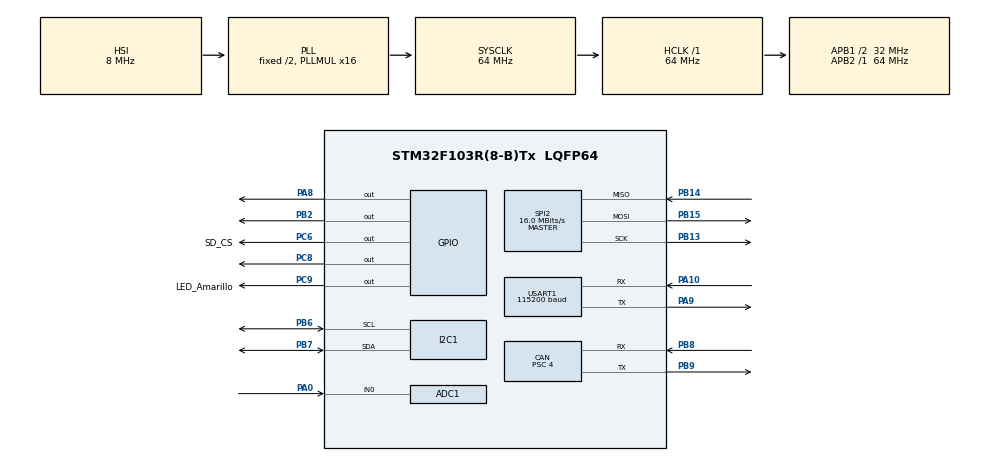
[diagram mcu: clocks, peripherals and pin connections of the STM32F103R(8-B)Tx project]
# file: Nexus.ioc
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ADC1.Channel-0\#ChannelRegularConversion=ADC_CHANNEL_0
ADC1.NbrOfConversionFlag=1
ADC1.Rank-0\#ChannelRegularConversion=1
ADC1.SamplingTime-0\#ChannelRegularConversion=ADC_SAMPLETIME_1CYCLE_5
ADC1.master=1
CAN.BS1=CAN_BS1_6TQ
CAN.CalculateBaudRate=1000000
CAN.CalculateTimeBit=1000
CAN.CalculateTimeQuantum=125.0
CAN.Mode=CAN_MODE_NORMAL
CAN.Prescaler=4
FATFS._MAX_SS=4096
FATFS._USE_LFN=1
Mcu.Family=STM32F1
Mcu.Name=STM32F103R(8-B)Tx
Mcu.Package=LQFP64
NVIC.CAN1_RX1_IRQn=true\:0\:0\:false\:false\:true\:true\:true\:true
NVIC.PriorityGroup=NVIC_PRIORITYGROUP_4
NVIC.USB_LP_CAN1_RX0_IRQn=true\:0\:0\:false\:false\:true\:true\:true\:true
PA0-WKUP.Signal=ADCx_IN0
PA10.Mode=Asynchronous
PA10.Signal=USART1_RX
PA13.Mode=Serial_Wire
PA13.Signal=SYS_JTMS-SWDIO
PA14.Mode=Serial_Wire
PA14.Signal=SYS_JTCK-SWCLK
PA8.Signal=GPIO_Output
PA9.Mode=Asynchronous
PA9.Signal=USART1_TX
PB13.Mode=Full_Duplex_Master
PB13.Signal=SPI2_SCK
PB14.Mode=Full_Duplex_Master
PB14.Signal=SPI2_MISO
PB15.Mode=Full_Duplex_Master
PB15.Signal=SPI2_MOSI
PB2.Signal=GPIO_Output
PB6.Mode=I2C
PB6.Signal=I2C1_SCL
PB7.Mode=I2C
PB7.Signal=I2C1_SDA
PB8.Mode=CAN_Activate
PB8.Signal=CAN_RX
PB9.Mode=CAN_Activate
PB9.Signal=CAN_TX
PC6.GPIO_Label=SD_CS
PC6.Signal=GPIO_Output
PC8.Signal=GPIO_Output
PC9.GPIO_Label=LED_Amarillo 
PC9.Signal=GPIO_Output
ProjectManager.HeapSize=0x200
ProjectManager.StackSize=0x400
ProjectManager.TargetToolchain=STM32CubeIDE
RCC.ADCPresc=RCC_ADCPCLK2_DIV6
RCC.AHBFreq_Value=64000000
RCC.APB1CLKDivider=RCC_HCLK_DIV2
RCC.APB1Freq_Value=32000000
RCC.APB1TimFreq_Value=64000000
RCC.APB2Freq_Value=64000000
RCC.APB2TimFreq_Value=64000000
RCC.HCLKFreq_Value=64000000
RCC.PLLMUL=RCC_PLL_MUL16
RCC.SYSCLKFreq_VALUE=64000000
RCC.SYSCLKSource=RCC_SYSCLKSOURCE_PLLCLK
RCC.USBFreq_Value=64000000
RTC.Date=9
RTC.Month=RTC_MONTH_JULY
RTC.WeekDay=RTC_WEEKDAY_TUESDAY
RTC.Year=24
SH.ADCx_IN0.0=ADC1_IN0,IN0
SPI2.CalculateBaudRate=16.0 MBits/s
SPI2.Direction=SPI_DIRECTION_2LINES
SPI2.Mode=SPI_MODE_MASTER
SPI2.VirtualType=VM_MASTER
USART1.BaudRate=115200
USART1.VirtualMode=VM_ASYNC
VP_ADC1_TempSens_Input.Mode=IN-TempSens
VP_FATFS_VS_Generic.Mode=User_defined
VP_RTC_VS_RTC_Activate.Mode=RTC_Enabled
VP_RTC_VS_RTC_Calendar.Mode=RTC_Calendar
board=custom

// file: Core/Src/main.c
/* USER CODE BEGIN Header */
/**
  ******************************************************************************
  * @file           : main.c
  * @brief          : Main program body
  ******************************************************************************
  * @attention
  *
  * Copyright (c) 2024 STMicroelectronics.
  * All rights reserved.
  *
  * This software is licensed under terms that can be found in the LICENSE file
  * in the root directory of this software component.
  * If no LICENSE file comes with this software, it is provided AS-IS.
  *
  ******************************************************************************
  */
/* USER CODE END Header */
#include "main.h"
#include "fatfs.h"

/* USER CODE BEGIN Includes */

#include "stdio.h"
#include "math.h"
#include "stdlib.h"
#include "stdint.h"
#include "time.h"
#include "string.h"
#include "stdbool.h"

#include "MPU_6050.h"
#include "nextion_comunication.h"
/* USER CODE END Includes */

/* USER CODE BEGIN PTD */
char Time[30];
char Date[30];
/* USER CODE END PTD */

/* USER CODE BEGIN PD */
RTC_TimeTypeDef sTime;
RTC_DateTypeDef sDate;
FATFS fs;
FIL fil;
/* USER CODE END PD */

ADC_HandleTypeDef hadc1;

CAN_HandleTypeDef hcan;

I2C_HandleTypeDef hi2c1;

RTC_HandleTypeDef hrtc;

SPI_HandleTypeDef hspi2;

UART_HandleTypeDef huart1;

void SystemClock_Config(void);
static void MX_GPIO_Init(void);
static void MX_CAN_Init(void);
static void MX_USART1_UART_Init(void);
static void MX_RTC_Init(void);
static void MX_SPI2_Init(void);
static void MX_I2C1_Init(void);
static void MX_ADC1_Init(void);

/* USER CODE BEGIN 0 */
CAN_TxHeaderTypeDef TxHeader;
CAN_RxHeaderTypeDef RxHeader;

uint32_t TxMailbox; 	//Un MAILBOX es una paquete con espacio para 4 Bytes donde se preparan los datos a enviar
						//Supports 3 different Mailboxes (Search it in the datasheet form MCU)
uint8_t TxData[8];
uint8_t RxData[8];

int Engine_Speed = 0;
uint8_t Throttle_Pos = 0;
uint8_t Coolant_Temp = 0;
uint8_t Battery_Voltage = 0;
float Battery_Voltage_Float = 0;
uint8_t Throttle_Pedal = 0;
int16_t Brake_Pressure = 0;
int16_t RPM = 0;
uint8_t Ignition = 0;
uint8_t SDC = 0;
uint8_t Sw_Starter = 0;
uint8_t Left_Fan = 0;
uint8_t Right_Fan = 0;
uint16_t Gear = 0;
uint8_t Brake_Percentage = 0;

uint8_t CAN_Status = 0;

//float Acc_X = 0;
//float Acc_Y = 0;
//float Acc_Z = 0;

uint8_t MPU_6050_Temp = 0;

// Textos para mostrar datos (se necesitan las siguintes varibles en formato texto para poder mostrarslas en la interfaz)
char RPM_text[20];  // Texto con valor de RPM
char Speed_Text[20];  // Texto con valor velocidad
char Coolant_Text[20];  // Texto con valor de temperatura del refrigerante
char Battery_Text[20];  // Texto con valor de voltaje de la batería
char Ambient_Temperature_Text[20];
char Gear_Text[5] = "N";

const char *array_elementos[] = {"speed", "revValue", "gear", "brake1", "brake2", "brake3", "brake4"};

void HAL_CAN_RxFifo0MsgPendingCallback(CAN_HandleTypeDef *hcan)
{

	HAL_CAN_GetRxMessage(hcan, CAN_RX_FIFO0, &RxHeader, RxData);
	HAL_GPIO_WritePin(GPIOC, GPIO_PIN_8, GPIO_PIN_RESET);
	HAL_GPIO_TogglePin(GPIOA, GPIO_PIN_8);
	switch (RxHeader.StdId){

//	case 0x118:
////			Engine_Speed = (uint8_t)RxData[0];
//
////			Throttle_Pos = (uint8_t)RxData[1];
//
////			Coolant_Temp = (uint8_t)RxData[3];
//			break;

		case 0x120:
			CAN_Status = 1;

			//Revisar esta parte de las variables de Engine Speed
			Engine_Speed = (uint8_t)RxData[0];
			Engine_Speed = (int)Engine_Speed *100;
			Throttle_Pos = (uint8_t)RxData[1];
			Coolant_Temp = (uint8_t)RxData[2];
			Battery_Voltage = (uint8_t)RxData[3];
			Battery_Voltage_Float = (float)Battery_Voltage/10;
			Brake_Pressure = (int16_t)RxData[4]<<8 | RxData[5];
			Brake_Percentage = 0.0138*Brake_Pressure;
			NEXTION_SendNumber(&huart1, "brakePedal", Brake_Percentage);

			MPU_6050_Temp = MPU_6050_Get_Temp();
			HAL_ADC_Start(&hadc1);
			HAL_ADC_PollForConversion(&hadc1, HAL_MAX_DELAY);
			Gear = HAL_ADC_GetValue(&hadc1);

			//Condicionales para conocer el valor de la Marcha
			if ((Gear>=40)&&(Gear<500)){
				strcpy(Gear_Text,"N");
				NEXTION_SendText(&huart1, "gear", Gear_Text, NULL);
			}
			else if((Gear>=600)&&(Gear<950)){
				strcpy(Gear_Text,"1");
				NEXTION_SendText(&huart1, "gear", Gear_Text, NULL);
			}
			else if((Gear>=1000)&&(Gear<1350)){
				strcpy(Gear_Text,"2");
				NEXTION_SendText(&huart1, "gear", Gear_Text, NULL);
			}
			else if((Gear>=1500)&&(Gear<1800)){
				strcpy(Gear_Text,"3");
				NEXTION_SendText(&huart1, "gear", Gear_Text, NULL);
			}
			else if((Gear>=1900)&&(Gear<2100)){
				strcpy(Gear_Text,"4");
				NEXTION_SendText(&huart1, "gear", Gear_Text, NULL);
			}
			else if((Gear>=2150)&&(Gear<2400)){
				strcpy(Gear_Text,"5");
				NEXTION_SendText(&huart1, "gear", Gear_Text, NULL);
			}
			else if(Gear>=2400){
				strcpy(Gear_Text,"6");
				NEXTION_SendText(&huart1, "gear", Gear_Text, NULL);
			}

			//Funcion para enviar las revoluciones del motor
			sprintf(RPM_text, "%d", Engine_Speed);
			NEXTION_SendText(&huart1, "revValue", RPM_text, NULL);
			NEXTION_Send_Revs_v2(&huart1, Engine_Speed);

			//Funcion para enviar la posicion de la mariposa
			NEXTION_SendNumber(&huart1, "acePedal", Throttle_Pos);

			//Funcion para enviar la temperatura del refrigerante
			sprintf(Coolant_Text, "%d", Coolant_Temp);
			NEXTION_SendText(&huart1,"engineTemp",Coolant_Text,"\xB0");

			sprintf(Ambient_Temperature_Text, "%d", MPU_6050_Temp);
			NEXTION_SendText(&huart1,"ambtemperature",Ambient_Temperature_Text,"\xB0");

			//Condicional para el estado del CAN
			if (CAN_Status == 1){
				NEXTION_estado_color(&huart1, "can", 1024);
			}
			else{
				NEXTION_estado_color(&huart1, "can", 63488);
			}

			//Creamos el condicional para los colores de la temperatura de refrigerante

			if (Coolant_Temp<95){
				NEXTION_estado_color(&huart1, "engineTemp", 36609);
			}
			else if((Coolant_Temp>=95)&&(Coolant_Temp<=99)){
				NEXTION_estado_color(&huart1, "engineTemp", 64520);
			}
			else{
				NEXTION_estado_color(&huart1, "engineTemp", 63488);
			}

			sprintf(Battery_Text, "%.1f",Battery_Voltage_Float);
			NEXTION_SendText(&huart1,"voltage",Battery_Text,"V");

			//Creamos el condicional para los colores de la bateria
			if (Battery_Voltage>=12.5){
				NEXTION_estado_color(&huart1, "voltage", 36609);
			}
			else if((Battery_Voltage<12.5)&&(Battery_Voltage>=12)){
				NEXTION_estado_color(&huart1, "voltage", 64520);
			}
			else{
				NEXTION_estado_color(&huart1, "voltage", 63488);
			}

			NEXTION_SendNumber(&huart1, "brakePedal", Brake_Pressure);
			break;

		//case 0x64D:

			//break;

		case 0x521:
			Ignition = (uint8_t)RxData[0];
			SDC = (uint8_t)RxData[1];
			Sw_Starter = (uint8_t)RxData[2];
			Left_Fan = (uint8_t)RxData[3];
			Right_Fan = (uint8_t)RxData[4];

			//Condicional para el estado del Ignition
						if (Ignition == 1){
							NEXTION_estado_color(&huart1, "ignition", 1024);
						}
						else {
							NEXTION_estado_color(&huart1, "ignition", 63488);
						}

						//Condicional para el estado SDC
						if (SDC == 0){
							NEXTION_estado_color(&huart1, "sdc", 1024);
						}
						else{
							NEXTION_estado_color(&huart1, "sdc", 63488 );
						}

						//Condicional para el estado del Starter
						if (Sw_Starter == 1){
							NEXTION_estado_color(&huart1, "str", 1024);
						}
						else {
							NEXTION_estado_color(&huart1, "str", 63488);
						}
						//Condicional para el estado del Left Fan
						if (Left_Fan == 1){
							NEXTION_estado_color(&huart1, "fanLeft", 1024);
						}
						else {
							NEXTION_estado_color(&huart1, "fanLeft", 63488);
						}
						//Condicional para el estado del Right Fan
						if (Right_Fan == 1){
							NEXTION_estado_color(&huart1, "fanRight", 1024);
						}
						else {
							NEXTION_estado_color(&huart1, "fanRight", 63488);
						}

			break;
//		case 0x655:
//			//Brake_Pressure = (int16_t)RxData[0]<<8 | RxData[1];
//
//
//			break;

	}

//	if (RxHeader.StdId == 0x118){
//	Message_Ready118 = 1;
//	}
}
/* USER CODE END 0 */

int main(void)
{

  /* MCU Configuration--------------------------------------------------------*/

  /* Reset of all peripherals, Initializes the Flash interface and the Systick. */
  HAL_Init();

  /* Configure the system clock */
  SystemClock_Config();

  /* Initialize all configured peripherals */
  MX_GPIO_Init();
  MX_CAN_Init();
  MX_USART1_UART_Init();
  MX_RTC_Init();
  MX_SPI2_Init();
  MX_FATFS_Init();
  MX_I2C1_Init();
  MX_ADC1_Init();
  /* USER CODE BEGIN 2 */

  //NEXTION_SendPageChange(&huart1,"page2");
  //HAL_Delay(2800);

             //Mostrar dashware page
 // NEXTION_SendPageChange(&huart1,"page1");

             //Inicializar interfaz a negro (por si se quedó la página con estilos a rojo por alguna alerta provocada por NEXTION_Alert())
  //NEXTION_Alert(&huart1, 0);

  HAL_CAN_Start(&hcan);

  HAL_CAN_ActivateNotification(&hcan, CAN_IT_RX_FIFO0_MSG_PENDING);

  MPU_6050_init();

  HAL_GPIO_WritePin(GPIOC, GPIO_PIN_8, GPIO_PIN_SET);
  /* USER CODE END 2 */

  /* Infinite loop */
  while (1)
  {

    /* USER CODE BEGIN 3 */

	//HAL_RTC_GetDate(&hrtc, &sDate, RTC_FORMAT_BIN);
	//HAL_RTC_GetTime(&hrtc, &sTime, RTC_FORMAT_BIN);

	//sprintf(Date,"Date: %02d.%02d.%02d\t",sDate.Date,sDate.Month,sDate.Year);
	//sprintf(Time,"Time: %02d.%02d.%02d\t",sTime.Hours,sTime.Minutes,sTime.Seconds);

  }
  /* USER CODE END 3 */
}

void SystemClock_Config(void)
{
  RCC_OscInitTypeDef RCC_OscInitStruct = {0};
  RCC_ClkInitTypeDef RCC_ClkInitStruct = {0};
  RCC_PeriphCLKInitTypeDef PeriphClkInit = {0};

  /** Initializes the RCC Oscillators according to the specified parameters
  * in the RCC_OscInitTypeDef structure.
  */
  RCC_OscInitStruct.OscillatorType = RCC_OSCILLATORTYPE_HSI|RCC_OSCILLATORTYPE_LSI;
  RCC_OscInitStruct.HSIState = RCC_HSI_ON;
  RCC_OscInitStruct.HSICalibrationValue = RCC_HSICALIBRATION_DEFAULT;
  RCC_OscInitStruct.LSIState = RCC_LSI_ON;
  RCC_OscInitStruct.PLL.PLLState = RCC_PLL_ON;
  RCC_OscInitStruct.PLL.PLLSource = RCC_PLLSOURCE_HSI_DIV2;
  RCC_OscInitStruct.PLL.PLLMUL = RCC_PLL_MUL16;
  if (HAL_RCC_OscConfig(&RCC_OscInitStruct) != HAL_OK)
  {
    Error_Handler();
  }

  /** Initializes the CPU, AHB and APB buses clocks
  */
  RCC_ClkInitStruct.ClockType = RCC_CLOCKTYPE_HCLK|RCC_CLOCKTYPE_SYSCLK
                              |RCC_CLOCKTYPE_PCLK1|RCC_CLOCKTYPE_PCLK2;
  RCC_ClkInitStruct.SYSCLKSource = RCC_SYSCLKSOURCE_PLLCLK;
  RCC_ClkInitStruct.AHBCLKDivider = RCC_SYSCLK_DIV1;
  RCC_ClkInitStruct.APB1CLKDivider = RCC_HCLK_DIV2;
  RCC_ClkInitStruct.APB2CLKDivider = RCC_HCLK_DIV1;

  if (HAL_RCC_ClockConfig(&RCC_ClkInitStruct, FLASH_LATENCY_2) != HAL_OK)
  {
    Error_Handler();
  }
  PeriphClkInit.PeriphClockSelection = RCC_PERIPHCLK_RTC|RCC_PERIPHCLK_ADC;
  PeriphClkInit.RTCClockSelection = RCC_RTCCLKSOURCE_LSI;
  PeriphClkInit.AdcClockSelection = RCC_ADCPCLK2_DIV6;
  if (HAL_RCCEx_PeriphCLKConfig(&PeriphClkInit) != HAL_OK)
  {
    Error_Handler();
  }
}

static void MX_ADC1_Init(void)
{

  ADC_ChannelConfTypeDef sConfig = {0};

  /** Common config
  */
  hadc1.Instance = ADC1;
  hadc1.Init.ScanConvMode = ADC_SCAN_DISABLE;
  hadc1.Init.ContinuousConvMode = DISABLE;
  hadc1.Init.DiscontinuousConvMode = DISABLE;
  hadc1.Init.ExternalTrigConv = ADC_SOFTWARE_START;
  hadc1.Init.DataAlign = ADC_DATAALIGN_RIGHT;
  hadc1.Init.NbrOfConversion = 1;
  if (HAL_ADC_Init(&hadc1) != HAL_OK)
  {
    Error_Handler();
  }

  /** Configure Regular Channel
  */
  sConfig.Channel = ADC_CHANNEL_0;
  sConfig.Rank = ADC_REGULAR_RANK_1;
  sConfig.SamplingTime = ADC_SAMPLETIME_1CYCLE_5;
  if (HAL_ADC_ConfigChannel(&hadc1, &sConfig) != HAL_OK)
  {
    Error_Handler();
  }

}

static void MX_CAN_Init(void)
{

  hcan.Instance = CAN1;
  hcan.Init.Prescaler = 4;
  hcan.Init.Mode = CAN_MODE_NORMAL;
  hcan.Init.SyncJumpWidth = CAN_SJW_1TQ;
  hcan.Init.TimeSeg1 = CAN_BS1_6TQ;
  hcan.Init.TimeSeg2 = CAN_BS2_1TQ;
  hcan.Init.TimeTriggeredMode = DISABLE;
  hcan.Init.AutoBusOff = DISABLE;
  hcan.Init.AutoWakeUp = DISABLE;
  hcan.Init.AutoRetransmission = DISABLE;
  hcan.Init.ReceiveFifoLocked = DISABLE;
  hcan.Init.TransmitFifoPriority = DISABLE;
  if (HAL_CAN_Init(&hcan) != HAL_OK)
  {
    Error_Handler();
  }
  /* USER CODE BEGIN CAN_Init 2 */
  CAN_FilterTypeDef canfilterconfig;

  canfilterconfig.FilterActivation = CAN_FILTER_ENABLE; //It is needed to enable the filters
  canfilterconfig.FilterBank = 10;  // A filter bank is a FILTER used to classify different messages.Select the filter bank we are going to use and we are going to configure.
  canfilterconfig.FilterFIFOAssignment = CAN_RX_FIFO0; //Bank to recieve or send data(FIFO0 or FIFO1).We assing the CAN FIFO we are going to use to recieve the income data

  canfilterconfig.FilterIdHigh = 0x200; //We select the MAXIMUM ID allowed to be recieved
  canfilterconfig.FilterIdLow = 0x0; //We select the MINIMUM ID allowed to be recieved. In case it is under the range it will be restricted
  										// In case we use STD ID we need to move 5 bits to the left staring from the lower value bits.
  canfilterconfig.FilterMaskIdHigh = 0x140 ; //Sirve para comparar con entre el ID de filtro par que despues sea comparado el ID con el mensaje de entrada. Si la mascara no compara en un bit se tomara como bueno.
  canfilterconfig.FilterMaskIdLow = 0x100;
  canfilterconfig.FilterMode = CAN_FILTERMODE_IDMASK; // This is the type of ID Filter we want to use. You can look up the types by looking in it directory
  													// It works identifying the ID to let it pass through the filter
  canfilterconfig.FilterScale = CAN_FILTERSCALE_32BIT; //We choose the width of the Filter Register we are going to use.
  canfilterconfig.SlaveStartFilterBank = 0;  //It choose a range of bank filters dedicated to the slave(If write 13 it will use 13 to 27 to the CAN_2)
  											//if there is only one peripheral available (CAN1 or CAN2) It is unuseless
  HAL_CAN_ConfigFilter(&hcan, &canfilterconfig);

  /* USER CODE END CAN_Init 2 */

}

static void MX_I2C1_Init(void)
{

  hi2c1.Instance = I2C1;
  hi2c1.Init.ClockSpeed = 100000;
  hi2c1.Init.DutyCycle = I2C_DUTYCYCLE_2;
  hi2c1.Init.OwnAddress1 = 0;
  hi2c1.Init.AddressingMode = I2C_ADDRESSINGMODE_7BIT;
  hi2c1.Init.DualAddressMode = I2C_DUALADDRESS_DISABLE;
  hi2c1.Init.OwnAddress2 = 0;
  hi2c1.Init.GeneralCallMode = I2C_GENERALCALL_DISABLE;
  hi2c1.Init.NoStretchMode = I2C_NOSTRETCH_DISABLE;
  if (HAL_I2C_Init(&hi2c1) != HAL_OK)
  {
    Error_Handler();
  }

}

static void MX_RTC_Init(void)
{

  RTC_TimeTypeDef sTime = {0};
  RTC_DateTypeDef DateToUpdate = {0};

  /** Initialize RTC Only
  */
  hrtc.Instance = RTC;
  hrtc.Init.AsynchPrediv = RTC_AUTO_1_SECOND;
  hrtc.Init.OutPut = RTC_OUTPUTSOURCE_ALARM;
  if (HAL_RTC_Init(&hrtc) != HAL_OK)
  {
    Error_Handler();
  }

  /** Initialize RTC and set the Time and Date
  */
  sTime.Hours = 0x0;
  sTime.Minutes = 0x0;
  sTime.Seconds = 0x0;

  if (HAL_RTC_SetTime(&hrtc, &sTime, RTC_FORMAT_BCD) != HAL_OK)
  {
    Error_Handler();
  }
  DateToUpdate.WeekDay = RTC_WEEKDAY_TUESDAY;
  DateToUpdate.Month = RTC_MONTH_JULY;
  DateToUpdate.Date = 0x9;
  DateToUpdate.Year = 0x24;

  if (HAL_RTC_SetDate(&hrtc, &DateToUpdate, RTC_FORMAT_BCD) != HAL_OK)
  {
    Error_Handler();
  }

}

static void MX_SPI2_Init(void)
{

  /* SPI2 parameter configuration*/
  hspi2.Instance = SPI2;
  hspi2.Init.Mode = SPI_MODE_MASTER;
  hspi2.Init.Direction = SPI_DIRECTION_2LINES;
  hspi2.Init.DataSize = SPI_DATASIZE_8BIT;
  hspi2.Init.CLKPolarity = SPI_POLARITY_LOW;
  hspi2.Init.CLKPhase = SPI_PHASE_1EDGE;
  hspi2.Init.NSS = SPI_NSS_SOFT;
  hspi2.Init.BaudRatePrescaler = SPI_BAUDRATEPRESCALER_2;
  hspi2.Init.FirstBit = SPI_FIRSTBIT_MSB;
  hspi2.Init.TIMode = SPI_TIMODE_DISABLE;
  hspi2.Init.CRCCalculation = SPI_CRCCALCULATION_DISABLE;
  hspi2.Init.CRCPolynomial = 10;
  if (HAL_SPI_Init(&hspi2) != HAL_OK)
  {
    Error_Handler();
  }

}

static void MX_USART1_UART_Init(void)
{

  huart1.Instance = USART1;
  huart1.Init.BaudRate = 115200;
  huart1.Init.WordLength = UART_WORDLENGTH_8B;
  huart1.Init.StopBits = UART_STOPBITS_1;
  huart1.Init.Parity = UART_PARITY_NONE;
  huart1.Init.Mode = UART_MODE_TX_RX;
  huart1.Init.HwFlowCtl = UART_HWCONTROL_NONE;
  huart1.Init.OverSampling = UART_OVERSAMPLING_16;
  if (HAL_UART_Init(&huart1) != HAL_OK)
  {
    Error_Handler();
  }

}

static void MX_GPIO_Init(void)
{
  GPIO_InitTypeDef GPIO_InitStruct = {0};

  /* GPIO Ports Clock Enable */
  __HAL_RCC_GPIOA_CLK_ENABLE();
  __HAL_RCC_GPIOB_CLK_ENABLE();
  __HAL_RCC_GPIOC_CLK_ENABLE();

  /*Configure GPIO pin Output Level */
  HAL_GPIO_WritePin(GPIOB, GPIO_PIN_2, GPIO_PIN_RESET);

  /*Configure GPIO pin Output Level */
  HAL_GPIO_WritePin(GPIOC, SD_CS_Pin|GPIO_PIN_8|LED_Amarillo_Pin, GPIO_PIN_RESET);

  /*Configure GPIO pin Output Level */
  HAL_GPIO_WritePin(GPIOA, GPIO_PIN_8, GPIO_PIN_RESET);

  /*Configure GPIO pin : PB2 */
  GPIO_InitStruct.Pin = GPIO_PIN_2;
  GPIO_InitStruct.Mode = GPIO_MODE_OUTPUT_PP;
  GPIO_InitStruct.Pull = GPIO_NOPULL;
  GPIO_InitStruct.Speed = GPIO_SPEED_FREQ_LOW;
  HAL_GPIO_Init(GPIOB, &GPIO_InitStruct);

  /*Configure GPIO pins : SD_CS_Pin PC8 LED_Amarillo_Pin */
  GPIO_InitStruct.Pin = SD_CS_Pin|GPIO_PIN_8|LED_Amarillo_Pin;
  GPIO_InitStruct.Mode = GPIO_MODE_OUTPUT_PP;
  GPIO_InitStruct.Pull = GPIO_NOPULL;
  GPIO_InitStruct.Speed = GPIO_SPEED_FREQ_LOW;
  HAL_GPIO_Init(GPIOC, &GPIO_InitStruct);

  /*Configure GPIO pin : PA8 */
  GPIO_InitStruct.Pin = GPIO_PIN_8;
  GPIO_InitStruct.Mode = GPIO_MODE_OUTPUT_PP;
  GPIO_InitStruct.Pull = GPIO_NOPULL;
  GPIO_InitStruct.Speed = GPIO_SPEED_FREQ_LOW;
  HAL_GPIO_Init(GPIOA, &GPIO_InitStruct);

}

void Error_Handler(void)
{
  __disable_irq();
  while (1)
  {
  }
}
